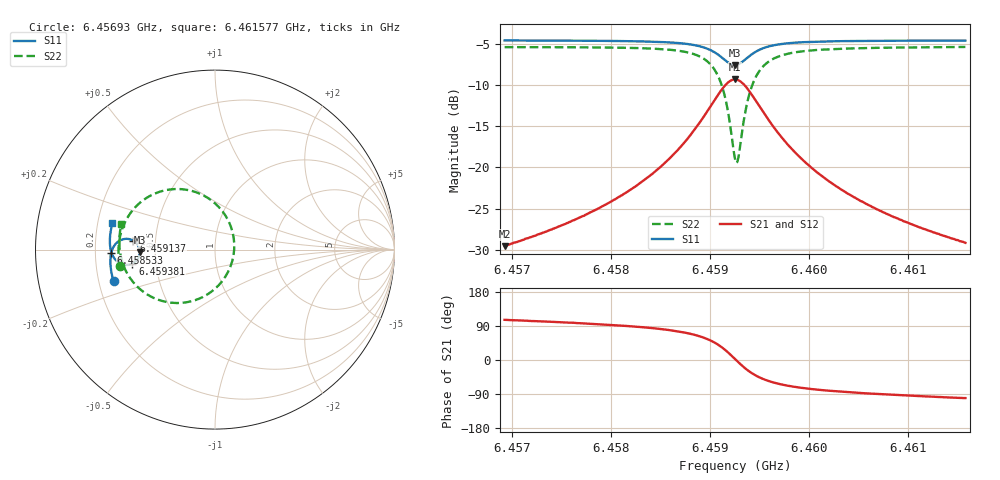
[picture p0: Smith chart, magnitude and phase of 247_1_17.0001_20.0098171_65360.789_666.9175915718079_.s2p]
#  HZ  S  RI  R  50.00
! Rohde & Schwarz Vector Network Analyzer
! Rohde-Schwarz,ZNB20-2Port,1311601062101988,3.16
! Created: UTC 3/20/2024, 11:03:07 PM
! freq[Hz]  re:S11  im:S11  re:S21  im:S21  re:S12  im:S12  re:S22  im:S22
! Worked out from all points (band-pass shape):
!   401 points, 6.45693 GHz to 6.461577 GHz, reference 50 ohm
!   highest |S21| = -9.29 dB at 6.459254 GHz (marker M1); lowest = -29.6 dB at 6.45693 GHz (marker M2)
!   |S21| within 3 dB of the highest: 6.459021 GHz to 6.459486 GHz (464.6 kHz wide, 0.00719 % of centre)
!   lowest |S11| = -7.5 dB at 6.459254 GHz (marker M3), VSWR 2.44, Z = 20.5 - j0.618 ohm
!   |S11| at or under -10 dB: nowhere
!   |S22| runs from -19.4 to -5.3 dB; largest |S21 - S12| = 0.013
!   S11 on the Smith chart (normalised r, x): 6.45693 GHz: 0.26, -0.14; 6.458533 GHz: 0.27, -0.01; 6.459137 GHz: 0.37, +0.05; 6.459381 GHz: 0.37, -0.07; 6.461577 GHz: 0.26, +0.12
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6.4569303e9  -0.5653 -0.1766  -0.00919 0.0319  -0.00734 0.032  -0.5314 -0.0929
6.4577086e9  -0.5798 -0.1089  -0.00601 0.0499  -0.00353 0.0495  -0.5378 -0.00213
6.4581384e9  -0.5832 -0.066  -0.000186 0.0693  0.00302 0.068  -0.5305 0.0655
6.4584869e9  -0.5797 -0.0247  0.0134 0.0981  0.0174 0.0954  -0.5058 0.1434
6.4585333e9  -0.5784 -0.0183  0.0166 0.1034  0.0207 0.1006  -0.4996 0.1566
6.4587541e9  -0.5652 0.0156  0.0447 0.1373  0.0489 0.1326  -0.4473 0.233
6.4589051e9  -0.5429 0.042  0.0896 0.168  0.0929 0.1614  -0.3647 0.2978
6.4590445e9  -0.4993 0.0598  0.1762 0.1848  0.1771 0.1775  -0.2066 0.3376
6.4591374e9  -0.455 0.0499  0.2656 0.1543  0.266 0.1484  -0.0407 0.2884
6.4591839e9  -0.4341 0.0313  0.3092 0.1119  0.3105 0.1065  0.0421 0.213
6.4592536e9  -0.4192 -0.0125  0.3427 0.0157  0.3463 0.00872  0.1072 0.0345
6.4592652e9  -0.4196 -0.0205  0.3425 -0.00196  0.3463 -0.00952  0.1068 0.00111
6.4592884e9  -0.4231 -0.036  0.3372 -0.0364  0.3409 -0.0454  0.0961 -0.0641
6.4593349e9  -0.4386 -0.0618  0.3088 -0.096  0.3111 -0.1077  0.0394 -0.1767
6.4593813e9  -0.4603 -0.0779  0.2672 -0.1369  0.2666 -0.1499  -0.0447 -0.2512
6.4594743e9  -0.5033 -0.0847  0.1835 -0.1681  0.1774 -0.1794  -0.2119 -0.2978
6.4596253e9  -0.5469 -0.0643  0.0962 -0.1549  0.0879 -0.1609  -0.3783 -0.2495
6.4597879e9  -0.5683 -0.0368  0.0515 -0.1272  0.0441 -0.1301  -0.4585 -0.1781
6.4600319e9  -0.5811 -0.00122  0.0226 -0.0962  0.0167 -0.0969  -0.5066 -0.0964
6.4603571e9  -0.5856 0.0374  0.00729 -0.0711  0.00316 -0.0707  -0.5278 -0.0217
6.4608102e9  -0.5839 0.0829  -0.00117 -0.0513  -0.00401 -0.0506  -0.5331 0.0508
6.4615768e9  -0.5716 0.1507  -0.00635 -0.0342  -0.00807 -0.0334  -0.522 0.141
